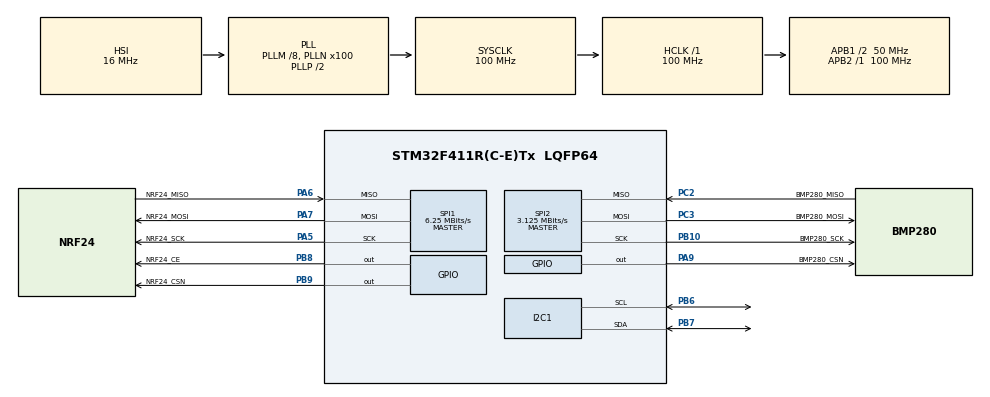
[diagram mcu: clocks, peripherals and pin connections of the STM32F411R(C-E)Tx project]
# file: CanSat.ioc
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Dma.Request0=SPI1_RX
Dma.Request1=SPI1_TX
Dma.Request2=SPI2_RX
Dma.SPI1_RX.0.Direction=DMA_PERIPH_TO_MEMORY
Dma.SPI1_RX.0.FIFOMode=DMA_FIFOMODE_DISABLE
Dma.SPI1_RX.0.Instance=DMA2_Stream0
Dma.SPI1_RX.0.MemDataAlignment=DMA_MDATAALIGN_BYTE
Dma.SPI1_RX.0.MemInc=DMA_MINC_ENABLE
Dma.SPI1_RX.0.Mode=DMA_NORMAL
Dma.SPI1_RX.0.PeriphDataAlignment=DMA_PDATAALIGN_BYTE
Dma.SPI1_RX.0.PeriphInc=DMA_PINC_DISABLE
Dma.SPI1_RX.0.Priority=DMA_PRIORITY_LOW
Dma.SPI1_TX.1.Direction=DMA_MEMORY_TO_PERIPH
Dma.SPI1_TX.1.FIFOMode=DMA_FIFOMODE_DISABLE
Dma.SPI1_TX.1.Instance=DMA2_Stream2
Dma.SPI1_TX.1.MemDataAlignment=DMA_MDATAALIGN_BYTE
Dma.SPI1_TX.1.MemInc=DMA_MINC_ENABLE
Dma.SPI1_TX.1.Mode=DMA_NORMAL
Dma.SPI1_TX.1.PeriphDataAlignment=DMA_PDATAALIGN_BYTE
Dma.SPI1_TX.1.PeriphInc=DMA_PINC_DISABLE
Dma.SPI1_TX.1.Priority=DMA_PRIORITY_LOW
Dma.SPI2_RX.2.Direction=DMA_PERIPH_TO_MEMORY
Dma.SPI2_RX.2.FIFOMode=DMA_FIFOMODE_DISABLE
Dma.SPI2_RX.2.Instance=DMA1_Stream3
Dma.SPI2_RX.2.MemDataAlignment=DMA_MDATAALIGN_BYTE
Dma.SPI2_RX.2.MemInc=DMA_MINC_ENABLE
Dma.SPI2_RX.2.Mode=DMA_NORMAL
Dma.SPI2_RX.2.PeriphDataAlignment=DMA_PDATAALIGN_BYTE
Dma.SPI2_RX.2.PeriphInc=DMA_PINC_DISABLE
Dma.SPI2_RX.2.Priority=DMA_PRIORITY_LOW
FREERTOS.Tasks01=Task10ms,0,128,Task_10ms,Default,NULL,Dynamic,NULL,NULL;Task100ms,0,128,Task_100ms,Default,NULL,Dynamic,NULL,NULL;Task1000ms,-3,128,Task_1000ms,Default,NULL,Dynamic,NULL,NULL;Task1ms,1,128,Task_1ms,Default,NULL,Dynamic,NULL,NULL
I2C1.I2C_Mode=I2C_Fast
Mcu.Family=STM32F4
Mcu.Name=STM32F411R(C-E)Tx
Mcu.Package=LQFP64
NVIC.DMA1_Stream3_IRQn=true\:5\:0\:false\:false\:true\:true\:false\:true\:true
NVIC.DMA2_Stream0_IRQn=true\:5\:0\:false\:false\:true\:true\:false\:true\:true
NVIC.DMA2_Stream2_IRQn=true\:5\:0\:false\:false\:true\:true\:false\:true\:true
NVIC.PriorityGroup=NVIC_PRIORITYGROUP_4
NVIC.SPI2_IRQn=true\:5\:0\:false\:false\:true\:true\:true\:true\:true
NVIC.TIM1_TRG_COM_TIM11_IRQn=true\:15\:0\:false\:false\:true\:false\:false\:true\:true
NVIC.TimeBase=TIM1_TRG_COM_TIM11_IRQn
NVIC.TimeBaseIP=TIM11
PA13.GPIO_Label=TMS
PA13.Mode=Serial_Wire
PA13.Signal=SYS_JTMS-SWDIO
PA14.GPIO_Label=TCK
PA14.Mode=Serial_Wire
PA14.Signal=SYS_JTCK-SWCLK
PA5.GPIO_Label=NRF24_SCK
PA5.Mode=Full_Duplex_Master
PA5.Signal=SPI1_SCK
PA6.GPIO_Label=NRF24_MISO
PA6.Mode=Full_Duplex_Master
PA6.Signal=SPI1_MISO
PA7.GPIO_Label=NRF24_MOSI
PA7.Mode=Full_Duplex_Master
PA7.Signal=SPI1_MOSI
PA9.GPIO_Label=BMP280_CSN
PA9.Signal=GPIO_Output
PB10.GPIO_Label=BMP280_SCK
PB10.Mode=Full_Duplex_Master
PB10.Signal=SPI2_SCK
PB3.GPIO_Label=SWO
PB3.Signal=SYS_JTDO-SWO
PB6.Mode=I2C
PB6.Signal=I2C1_SCL
PB7.Mode=I2C
PB7.Signal=I2C1_SDA
PB8.GPIO_Label=NRF24_CE
PB8.GPIO_Speed=GPIO_SPEED_FREQ_LOW
PB8.Signal=GPIO_Output
PB9.GPIO_Label=NRF24_CSN
PB9.GPIO_Speed=GPIO_SPEED_FREQ_LOW
PB9.Signal=GPIO_Output
PC14-OSC32_IN.Mode=LSE-External-Oscillator
PC14-OSC32_IN.Signal=RCC_OSC32_IN
PC15-OSC32_OUT.Mode=LSE-External-Oscillator
PC15-OSC32_OUT.Signal=RCC_OSC32_OUT
PC2.GPIO_Label=BMP280_MISO
PC2.Mode=Full_Duplex_Master
PC2.Signal=SPI2_MISO
PC3.GPIO_Label=BMP280_MOSI
PC3.Mode=Full_Duplex_Master
PC3.Signal=SPI2_MOSI
PH0\ -\ OSC_IN.Mode=HSE-External-Clock-Source
PH0\ -\ OSC_IN.Signal=RCC_OSC_IN
PH1\ -\ OSC_OUT.Mode=HSE-External-Clock-Source
PH1\ -\ OSC_OUT.Signal=RCC_OSC_OUT
ProjectManager.HeapSize=0x200
ProjectManager.StackSize=0x400
ProjectManager.TargetToolchain=STM32CubeIDE
RCC.48MHZClocksFreq_Value=50000000
RCC.AHBFreq_Value=100000000
RCC.APB1CLKDivider=RCC_HCLK_DIV2
RCC.APB1Freq_Value=50000000
RCC.APB1TimFreq_Value=100000000
RCC.APB2Freq_Value=100000000
RCC.APB2TimFreq_Value=100000000
RCC.CortexFreq_Value=100000000
RCC.FLatency-AdvancedSettings=FLASH_LATENCY_3
RCC.HCLKFreq_Value=100000000
RCC.HSE_VALUE=8000000
RCC.HSI_VALUE=16000000
RCC.PLLM=8
RCC.PLLN=100
RCC.SYSCLKFreq_VALUE=100000000
RCC.SYSCLKSource=RCC_SYSCLKSOURCE_PLLCLK
RCC.VCOOutputFreq_Value=200000000
SPI1.BaudRatePrescaler=SPI_BAUDRATEPRESCALER_16
SPI1.CalculateBaudRate=6.25 MBits/s
SPI1.Direction=SPI_DIRECTION_2LINES
SPI1.Mode=SPI_MODE_MASTER
SPI1.VirtualType=VM_MASTER
SPI2.BaudRatePrescaler=SPI_BAUDRATEPRESCALER_16
SPI2.CalculateBaudRate=3.125 MBits/s
SPI2.Direction=SPI_DIRECTION_2LINES
SPI2.Mode=SPI_MODE_MASTER
SPI2.VirtualType=VM_MASTER
VP_FREERTOS_VS_CMSIS_V1.Mode=CMSIS_V1
VP_SYS_VS_tim11.Mode=TIM11
board=NUCLEO-F411RE

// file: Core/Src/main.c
/* USER CODE BEGIN Header */
/**
  ******************************************************************************
  * @file           : main.c
  * @brief          : Main program body
  ******************************************************************************
  * @attention
  *
  * Copyright (c) 2024 STMicroelectronics.
  * All rights reserved.
  *
  * This software is licensed under terms that can be found in the LICENSE file
  * in the root directory of this software component.
  * If no LICENSE file comes with this software, it is provided AS-IS.
  *
  ******************************************************************************
  */
/* USER CODE END Header */
#include "main.h"
#include "cmsis_os.h"
#include "dma.h"
#include "i2c.h"
#include "spi.h"
#include "gpio.h"

/* USER CODE BEGIN Includes */
#include "Peripheral/NRF24.h"
#include "Peripheral/BMP280.h"
#include "Peripheral/mpu6050.h"
/* USER CODE END Includes */

void SystemClock_Config(void);
void MX_FREERTOS_Init(void);

int main(void)
{

  /* MCU Configuration--------------------------------------------------------*/

  /* Reset of all peripherals, Initializes the Flash interface and the Systick. */
  HAL_Init();

  /* Configure the system clock */
  SystemClock_Config();

  /* Initialize all configured peripherals */
  MX_GPIO_Init();
  MX_DMA_Init();
  MX_SPI1_Init();
  MX_SPI2_Init();
  MX_I2C1_Init();
  /* USER CODE BEGIN 2 */
  NRF24_init();
  BMP280_init();
  MPU6050_Init(&hi2c1);
  /* USER CODE END 2 */

  /* Call init function for freertos objects (in freertos.c) */
  MX_FREERTOS_Init();

  /* Start scheduler */
  osKernelStart();

  /* We should never get here as control is now taken by the scheduler */
  /* Infinite loop */
  while (1)
  {

  }
}

void SystemClock_Config(void)
{
  RCC_OscInitTypeDef RCC_OscInitStruct = {0};
  RCC_ClkInitTypeDef RCC_ClkInitStruct = {0};

  /** Configure the main internal regulator output voltage
  */
  __HAL_RCC_PWR_CLK_ENABLE();
  __HAL_PWR_VOLTAGESCALING_CONFIG(PWR_REGULATOR_VOLTAGE_SCALE1);

  /** Initializes the RCC Oscillators according to the specified parameters
  * in the RCC_OscInitTypeDef structure.
  */
  RCC_OscInitStruct.OscillatorType = RCC_OSCILLATORTYPE_HSI;
  RCC_OscInitStruct.HSIState = RCC_HSI_ON;
  RCC_OscInitStruct.HSICalibrationValue = RCC_HSICALIBRATION_DEFAULT;
  RCC_OscInitStruct.PLL.PLLState = RCC_PLL_ON;
  RCC_OscInitStruct.PLL.PLLSource = RCC_PLLSOURCE_HSI;
  RCC_OscInitStruct.PLL.PLLM = 8;
  RCC_OscInitStruct.PLL.PLLN = 100;
  RCC_OscInitStruct.PLL.PLLP = RCC_PLLP_DIV2;
  RCC_OscInitStruct.PLL.PLLQ = 4;
  if (HAL_RCC_OscConfig(&RCC_OscInitStruct) != HAL_OK)
  {
    Error_Handler();
  }

  /** Initializes the CPU, AHB and APB buses clocks
  */
  RCC_ClkInitStruct.ClockType = RCC_CLOCKTYPE_HCLK|RCC_CLOCKTYPE_SYSCLK
                              |RCC_CLOCKTYPE_PCLK1|RCC_CLOCKTYPE_PCLK2;
  RCC_ClkInitStruct.SYSCLKSource = RCC_SYSCLKSOURCE_PLLCLK;
  RCC_ClkInitStruct.AHBCLKDivider = RCC_SYSCLK_DIV1;
  RCC_ClkInitStruct.APB1CLKDivider = RCC_HCLK_DIV2;
  RCC_ClkInitStruct.APB2CLKDivider = RCC_HCLK_DIV1;

  if (HAL_RCC_ClockConfig(&RCC_ClkInitStruct, FLASH_LATENCY_3) != HAL_OK)
  {
    Error_Handler();
  }
}

void HAL_TIM_PeriodElapsedCallback(TIM_HandleTypeDef *htim)
{
  if (htim->Instance == TIM11) {
    HAL_IncTick();
  }
}

void Error_Handler(void)
{
  __disable_irq();
  while (1)
  {
  }
}

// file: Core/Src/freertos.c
/* USER CODE BEGIN Header */
/**
  ******************************************************************************
  * File Name          : freertos.c
  * Description        : Code for freertos applications
  ******************************************************************************
  * @attention
  *
  * Copyright (c) 2024 STMicroelectronics.
  * All rights reserved.
  *
  * This software is licensed under terms that can be found in the LICENSE file
  * in the root directory of this software component.
  * If no LICENSE file comes with this software, it is provided AS-IS.
  *
  ******************************************************************************
  */
/* USER CODE END Header */

#include "FreeRTOS.h"
#include "task.h"
#include "main.h"
#include "cmsis_os.h"

/* USER CODE BEGIN Includes */
#include "Global/Task_schedule.h"
/* USER CODE END Includes */

osThreadId Task10msHandle;
osThreadId Task100msHandle;
osThreadId Task1000msHandle;
osThreadId Task1msHandle;

void Task_10ms(void const * argument);
void Task_100ms(void const * argument);
void Task_1000ms(void const * argument);
void Task_1ms(void const * argument);

void MX_FREERTOS_Init(void); /* (MISRA C 2004 rule 8.1) */

/* GetIdleTaskMemory prototype (linked to static allocation support) */
void vApplicationGetIdleTaskMemory( StaticTask_t **ppxIdleTaskTCBBuffer, StackType_t **ppxIdleTaskStackBuffer, uint32_t *pulIdleTaskStackSize );

/* USER CODE BEGIN GET_IDLE_TASK_MEMORY */
static StaticTask_t xIdleTaskTCBBuffer;
static StackType_t xIdleStack[configMINIMAL_STACK_SIZE];

void vApplicationGetIdleTaskMemory( StaticTask_t **ppxIdleTaskTCBBuffer, StackType_t **ppxIdleTaskStackBuffer, uint32_t *pulIdleTaskStackSize )
{
  *ppxIdleTaskTCBBuffer = &xIdleTaskTCBBuffer;
  *ppxIdleTaskStackBuffer = &xIdleStack[0];
  *pulIdleTaskStackSize = configMINIMAL_STACK_SIZE;
  /* place for user code */
}
/* USER CODE END GET_IDLE_TASK_MEMORY */

void MX_FREERTOS_Init(void) {

  /* Create the thread(s) */
  /* definition and creation of Task10ms */
  osThreadDef(Task10ms, Task_10ms, osPriorityNormal, 0, 128);
  Task10msHandle = osThreadCreate(osThread(Task10ms), NULL);

  /* definition and creation of Task100ms */
  osThreadDef(Task100ms, Task_100ms, osPriorityNormal, 0, 128);
  Task100msHandle = osThreadCreate(osThread(Task100ms), NULL);

  /* definition and creation of Task1000ms */
  osThreadDef(Task1000ms, Task_1000ms, osPriorityIdle, 0, 128);
  Task1000msHandle = osThreadCreate(osThread(Task1000ms), NULL);

  /* definition and creation of Task1ms */
  osThreadDef(Task1ms, Task_1ms, osPriorityAboveNormal, 0, 128);
  Task1msHandle = osThreadCreate(osThread(Task1ms), NULL);

}

void Task_10ms(void const * argument)
{
  /* USER CODE BEGIN Task_10ms */
	task_init_10ms();
  /* Infinite loop */
  for(;;)
  {
	task_10ms();
    osDelay(10);
  }
  /* USER CODE END Task_10ms */
}

void Task_100ms(void const * argument)
{
  /* USER CODE BEGIN Task_100ms */
	task_init_100ms();
  /* Infinite loop */
  for(;;)
  {
	task_100ms();
    osDelay(100);
  }
  /* USER CODE END Task_100ms */
}

void Task_1000ms(void const * argument)
{
  /* USER CODE BEGIN Task_1000ms */
	task_init_1000ms();
  /* Infinite loop */
  for(;;)
  {
	task_1000ms();
    osDelay(1000);
  }
  /* USER CODE END Task_1000ms */
}

void Task_1ms(void const * argument)
{
  /* USER CODE BEGIN Task_1ms */
	task_init_1ms();
  /* Infinite loop */
  for(;;)
  {
	task_1ms();
    osDelay(1);
  }
  /* USER CODE END Task_1ms */
}
